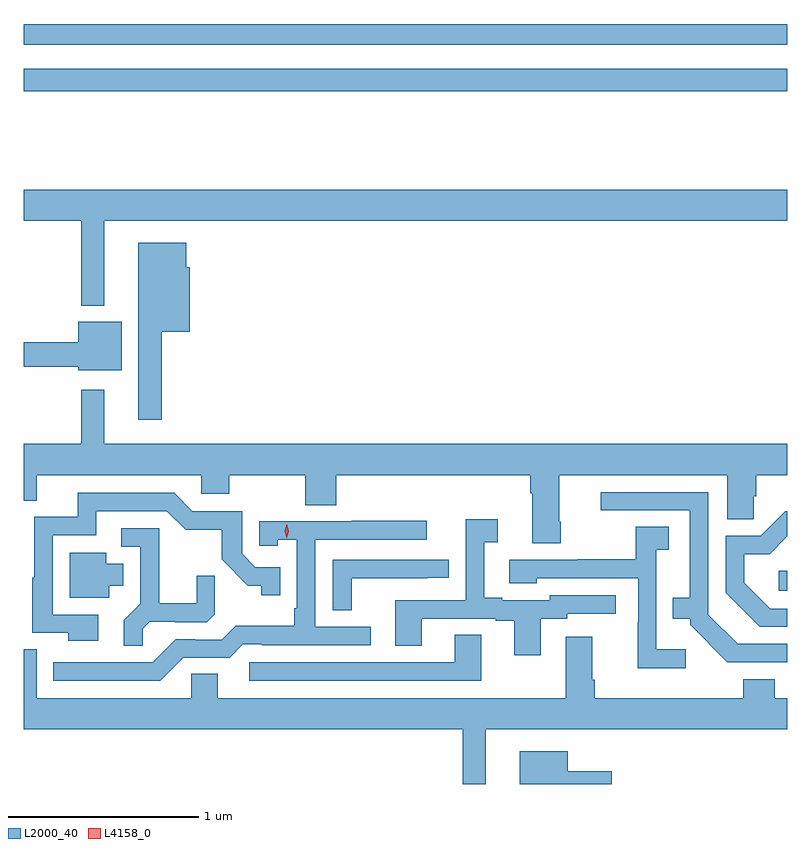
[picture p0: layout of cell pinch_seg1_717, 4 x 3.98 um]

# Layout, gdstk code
import gdstk
lib = gdstk.Library(unit=1e-6, precision=1e-09)
def R(c, l, rs):  # rectangles x0, y0, x1, y1
    for r in rs: c.add(gdstk.rectangle(r[:2], r[2:], *l))
def P(c, l, *ps):  # polygons
    for p in ps: c.add(gdstk.Polygon(p, *l))
L2000_40 = (2000, 40)
L4158_0 = (4158, 0)

pinch_seg1_717 = lib.new_cell('pinch_seg1_717')
R(pinch_seg1_717, L2000_40, [(749.34,523.155,749.384,523.258), (745.384,525.772,749.384,525.888), (745.384,526.014,749.384,526.123)])
P(pinch_seg1_717, L2000_40, [(745.807,525.092),(749.384,525.092),(749.384,525.256),(745.384,525.256),(745.384,525.092),(745.686,525.092),(745.686,524.648),(745.807,524.648)],
  [(746.107,524.51),(746.254,524.51),(746.254,524.85),(746.236,524.85),(746.236,524.977),(745.985,524.977),(745.985,524.049),(746.107,524.049)],
  [(745.897,524.563),(745.67,524.563),(745.67,524.456),(745.384,524.456),(745.384,524.328),(745.67,524.328),(745.67,524.309),(745.897,524.309)],
  [(748.197,523.516),(748.189,523.516),(748.189,523.76),(749.069,523.76),(749.069,523.528),(749.207,523.528),(749.207,523.65),(749.222,523.65),(749.222,523.76),(749.384,523.76),(749.384,523.924),(745.807,523.924),(745.807,524.206),(745.686,524.206),(745.686,523.924),(745.384,523.924),(745.384,523.627),(745.453,523.627),(745.453,523.76),(746.313,523.76),(746.313,523.662),(746.46,523.662),(746.46,523.76),(746.86,523.76),(746.86,523.603),(747.02,523.603),(747.02,523.76),(748.037,523.76),(748.037,523.664),(748.049,523.664),(748.049,523.404),(748.197,523.404)],
  [(749.384,522.876),(749.124,522.876),(748.971,523.029),(748.971,523.671),(748.407,523.671),(748.407,523.575),(748.874,523.575),(748.874,523.117),(748.783,523.117),(748.783,523.007),(748.875,523.007),(748.875,522.975),(749.07,522.78),(749.384,522.78)],
  [(745.774,523.029),(745.536,523.029),(745.536,523.446),(745.765,523.446),(745.765,523.572),(746.133,523.572),(746.232,523.474),(746.421,523.474),(746.421,523.318),(746.558,523.181),(746.628,523.181),(746.628,523.131),(746.729,523.131),(746.729,523.278),(746.598,523.278),(746.529,523.347),(746.529,523.572),(746.268,523.572),(746.172,523.668),(745.667,523.668),(745.667,523.542),(745.44,523.542),(745.44,523.223),(745.428,523.223),(745.428,522.933),(745.618,522.933),(745.618,522.893),(745.774,522.893)],
  [(749.384,523.059),(749.295,523.059),(749.158,523.196),(749.158,523.346),(749.291,523.346),(749.384,523.439),(749.384,523.571),(749.372,523.571),(749.244,523.443),(749.061,523.443),(749.061,523.145),(749.24,522.966),(749.384,522.966)],
  [(748.093,523.008),(748.23,523.008),(748.23,523.035),(748.486,523.035),(748.486,523.131),(748.14,523.131),(748.14,523.104),(747.892,523.104),(747.892,523.117),(747.796,523.117),(747.796,523.408),(747.868,523.408),(747.868,523.528),(747.699,523.528),(747.699,523.104),(747.329,523.104),(747.329,522.865),(747.469,522.865),(747.469,523.008),(747.857,523.008),(747.857,522.996),(747.953,522.996),(747.953,522.816),(748.093,522.816)],
  [(746.22,522.804),(746.463,522.804),(746.532,522.873),(746.632,522.873),(746.632,522.87),(747.202,522.87),(747.202,522.966),(746.91,522.966),(746.91,523.422),(747.496,523.422),(747.496,523.52),(747.103,523.52),(747.103,523.518),(746.619,523.518),(746.619,523.389),(746.715,523.389),(746.715,523.421),(746.814,523.421),(746.814,523.063),(746.802,523.063),(746.802,522.97),(746.494,522.97),(746.421,522.897),(746.282,522.897),(746.282,522.9),(746.181,522.9),(746.061,522.78),(745.538,522.78),(745.538,522.684),(746.1,522.684)],
  [(748.852,522.847),(748.698,522.847),(748.698,523.369),(748.762,523.369),(748.762,523.49),(748.59,523.49),(748.59,523.32),(748.285,523.32),(748.285,523.317),(747.927,523.317),(747.927,523.193),(748.071,523.193),(748.071,523.221),(748.602,523.221),(748.602,522.989),(748.6,522.989),(748.6,522.749),(748.852,522.749)],
  [(746.007,522.956),(746.044,522.993),(746.178,522.993),(746.178,522.99),(746.343,522.99),(746.384,523.031),(746.384,523.233),(746.29,523.233),(746.29,523.09),(746.093,523.09),(746.093,523.482),(745.896,523.482),(745.896,523.386),(745.995,523.386),(745.995,523.087),(745.909,523.001),(745.909,522.865),(746.007,522.865)],
  [(745.831,523.181),(745.906,523.181),(745.906,523.297),(745.816,523.297),(745.816,523.354),(745.625,523.354),(745.625,523.118),(745.831,523.118)],
  [(747.102,523.221),(747.497,523.221),(747.497,523.222),(747.61,523.222),(747.61,523.317),(747.003,523.317),(747.003,523.051),(747.102,523.051)],
  [(747.781,522.923),(747.641,522.923),(747.641,522.78),(746.565,522.78),(746.565,522.684),(747.781,522.684)],
  [(747.805,522.428),(749.384,522.428),(749.384,522.592),(749.318,522.592),(749.318,522.691),(749.153,522.691),(749.153,522.592),(748.376,522.592),(748.376,522.688),(748.363,522.688),(748.363,522.913),(748.223,522.913),(748.223,522.592),(746.401,522.592),(746.401,522.719),(746.262,522.719),(746.262,522.592),(745.453,522.592),(745.453,522.848),(745.384,522.848),(745.384,522.428),(747.684,522.428),(747.684,522.142),(747.805,522.142)],
  [(748.465,522.208),(748.234,522.208),(748.234,522.313),(747.983,522.313),(747.983,522.142),(748.465,522.142)])
P(pinch_seg1_717, L4158_0, [(746.762,523.43),(746.762,523.431),(746.752,523.467),(746.762,523.503),(746.762,523.503),(746.762,523.503),(746.772,523.467),(746.762,523.431)])

lib.write_gds('pinch_seg1_717.gds')
